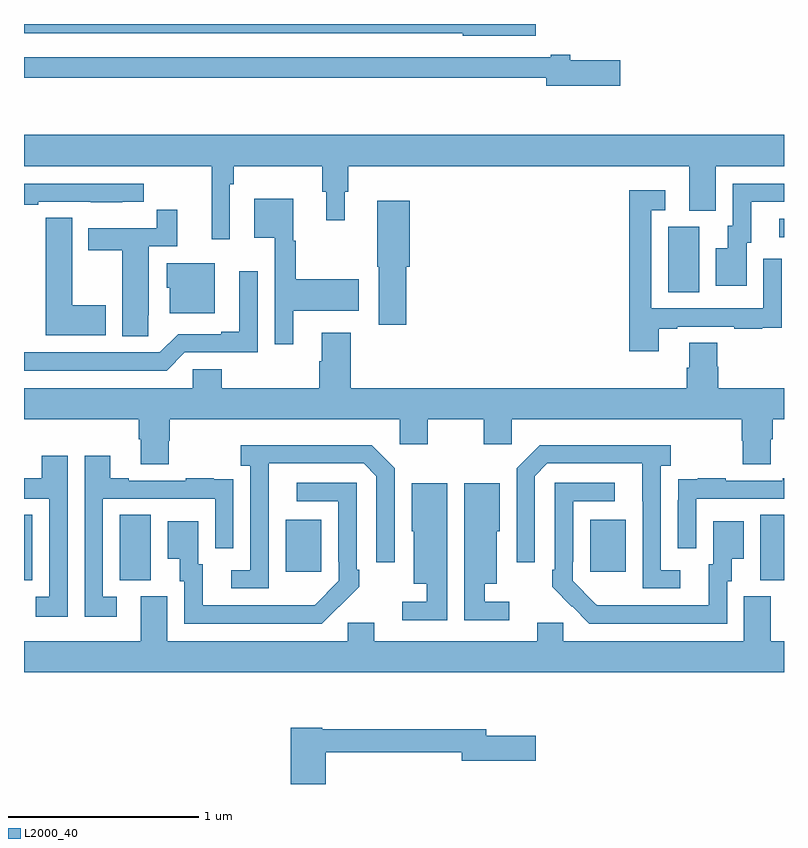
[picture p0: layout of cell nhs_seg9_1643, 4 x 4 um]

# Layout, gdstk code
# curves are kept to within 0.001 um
import gdstk
lib = gdstk.Library(unit=1e-6, precision=1e-09)
def R(c, l, rs):  # rectangles x0, y0, x1, y1
    for r in rs: c.add(gdstk.rectangle(r[:2], r[2:], *l))
def P(c, l, *ps):  # polygons
    for p in ps: c.add(gdstk.Polygon(p, *l))
L2000_40 = (2000, 40)

nhs_seg9_1643 = lib.new_cell('nhs_seg9_1643')
R(nhs_seg9_1643, L2000_40, [(203,1195.573,203.044,1195.916), (203.504,1195.573,203.668,1195.916), (206.876,1195.573,207,1195.916), (204.377,1195.617,204.565,1195.891), (205.979,1195.617,206.167,1195.891), (206.39,1197.088,206.554,1197.432), (206.976,1197.378,207,1197.474)])
P(nhs_seg9_1643, L2000_40, [(205.693,1198.5),(203,1198.5),(203,1198.452),(205.308,1198.452),(205.308,1198.439),(205.693,1198.439)],
  [(206.137,1198.31),(205.876,1198.31),(205.876,1198.339),(205.772,1198.339),(205.772,1198.326),(203,1198.326),(203,1198.218),(205.748,1198.218),(205.748,1198.175),(206.137,1198.175)],
  [(203,1197.752),(203.987,1197.752),(203.987,1197.366),(204.084,1197.366),(204.084,1197.656),(204.104,1197.656),(204.104,1197.752),(204.571,1197.752),(204.571,1197.618),(204.59,1197.618),(204.59,1197.468),(204.688,1197.468),(204.688,1197.618),(204.707,1197.618),(204.707,1197.752),(206.501,1197.752),(206.501,1197.517),(206.641,1197.517),(206.641,1197.752),(207,1197.752),(207,1197.916),(203,1197.916)],
  [(203.074,1197.564),(203.35,1197.564),(203.35,1197.563),(203.516,1197.563),(203.516,1197.564),(203.629,1197.564),(203.629,1197.66),(203,1197.66),(203,1197.549),(203.074,1197.549)],
  [(206.803,1197.348),(206.827,1197.348),(206.827,1197.564),(207,1197.564),(207,1197.66),(206.73,1197.66),(206.73,1197.438),(206.705,1197.438),(206.705,1197.319),(206.642,1197.319),(206.642,1197.123),(206.803,1197.123)],
  [(206.341,1196.895),(206.437,1196.895),(206.437,1196.907),(206.737,1196.907),(206.737,1196.895),(206.885,1196.895),(206.885,1196.901),(206.987,1196.901),(206.987,1197.01),(206.988,1197.01),(206.988,1197.265),(206.892,1197.265),(206.892,1197.003),(206.301,1197.003),(206.301,1197.519),(206.374,1197.519),(206.374,1197.625),(206.185,1197.625),(206.185,1196.778),(206.341,1196.778)],
  [(204.418,1196.99),(204.763,1196.99),(204.763,1197.156),(204.43,1197.156),(204.43,1197.36),(204.418,1197.36),(204.418,1197.58),(204.212,1197.58),(204.212,1197.374),(204.321,1197.374),(204.321,1196.814),(204.418,1196.814)],
  [(205.013,1197.222),(205.031,1197.222),(205.031,1197.571),(204.86,1197.571),(204.86,1197.222),(204.866,1197.222),(204.866,1196.916),(205.013,1196.916)],
  [(203.655,1196.968),(203.656,1196.968),(203.656,1197.33),(203.807,1197.33),(203.807,1197.523),(203.698,1197.523),(203.698,1197.426),(203.339,1197.426),(203.339,1197.31),(203.516,1197.31),(203.516,1196.857),(203.655,1196.857)],
  [(203.431,1197.021),(203.254,1197.021),(203.254,1197.479),(203.115,1197.479),(203.115,1197.371),(203.114,1197.371),(203.114,1196.861),(203.431,1196.861)],
  [(204.004,1197.241),(203.75,1197.241),(203.75,1197.111),(203.768,1197.111),(203.768,1196.978),(204.004,1196.978)],
  [(203.847,1196.772),(204.231,1196.772),(204.231,1197.199),(204.134,1197.199),(204.134,1196.881),(204.038,1196.881),(204.038,1196.868),(203.811,1196.868),(203.715,1196.772),(203,1196.772),(203,1196.676),(203.751,1196.676)],
  [(203.763,1196.307),(203.768,1196.307),(203.768,1196.42),(204.978,1196.42),(204.978,1196.289),(205.125,1196.289),(205.125,1196.42),(205.42,1196.42),(205.42,1196.289),(205.566,1196.289),(205.566,1196.42),(206.777,1196.42),(206.777,1196.307),(206.782,1196.307),(206.782,1196.182),(206.929,1196.182),(206.929,1196.314),(206.942,1196.314),(206.942,1196.42),(207,1196.42),(207,1196.584),(206.654,1196.584),(206.654,1196.697),(206.649,1196.697),(206.649,1196.822),(206.501,1196.822),(206.501,1196.69),(206.489,1196.69),(206.489,1196.584),(204.719,1196.584),(204.719,1196.875),(204.566,1196.875),(204.566,1196.726),(204.554,1196.726),(204.554,1196.584),(204.041,1196.584),(204.041,1196.682),(203.889,1196.682),(203.889,1196.584),(203,1196.584),(203,1196.42),(203.603,1196.42),(203.603,1196.314),(203.615,1196.314),(203.615,1196.182),(203.763,1196.182)],
  [(204.288,1195.987),(204.289,1196.187),(204.789,1196.187),(204.855,1196.121),(204.855,1195.668),(204.951,1195.668),(204.951,1196.163),(204.83,1196.284),(204.141,1196.284),(204.141,1196.174),(204.192,1196.174),(204.192,1195.626),(204.09,1195.626),(204.09,1195.53),(204.288,1195.53)],
  [(206.455,1195.626),(206.352,1195.626),(206.352,1196.174),(206.404,1196.174),(206.404,1196.284),(205.714,1196.284),(205.593,1196.163),(205.593,1195.668),(205.689,1195.668),(205.689,1196.121),(205.755,1196.187),(206.255,1196.187),(206.256,1195.53),(206.455,1195.53)],
  [(203.229,1196.227),(203.093,1196.227),(203.093,1196.11),(203,1196.11),(203,1196.001),(203.133,1196.001),(203.133,1195.485),(203.061,1195.485),(203.061,1195.38),(203.229,1195.38)],
  [(203.488,1195.485),(203.415,1195.485),(203.415,1196.001),(204.006,1196.001),(204.006,1195.74),(204.102,1195.74),(204.102,1195.994),(204.101,1195.994),(204.101,1196.103),(203.999,1196.103),(203.999,1196.11),(203.851,1196.11),(203.851,1196.097),(203.551,1196.097),(203.551,1196.11),(203.455,1196.11),(203.455,1196.227),(203.319,1196.227),(203.319,1195.38),(203.488,1195.38)],
  [(206.538,1196.001),(207,1196.001),(207,1196.11),(206.993,1196.11),(206.993,1196.097),(206.693,1196.097),(206.693,1196.11),(206.545,1196.11),(206.545,1196.103),(206.443,1196.103),(206.443,1195.994),(206.442,1195.994),(206.442,1195.74),(206.538,1195.74)],
  [(204.659,1195.435),(204.66,1195.434),(204.765,1195.539),(204.765,1195.627),(204.75,1195.627),(204.75,1196.085),(204.435,1196.085),(204.435,1195.989),(204.654,1195.989),(204.654,1195.669),(204.657,1195.669),(204.657,1195.569),(204.529,1195.441),(203.941,1195.44),(203.941,1195.656),(203.917,1195.656),(203.917,1195.882),(203.756,1195.882),(203.756,1195.685),(203.819,1195.685),(203.819,1195.566),(203.844,1195.566),(203.844,1195.344),(204.568,1195.344)],
  [(206.7,1195.566),(206.725,1195.566),(206.725,1195.685),(206.788,1195.685),(206.788,1195.882),(206.627,1195.882),(206.627,1195.656),(206.603,1195.656),(206.603,1195.44),(206.016,1195.441),(205.887,1195.569),(205.887,1195.669),(205.89,1195.669),(205.89,1195.989),(206.11,1195.989),(206.11,1196.085),(205.794,1196.085),(205.794,1195.627),(205.779,1195.627),(205.779,1195.539),(205.976,1195.344),(206.7,1195.344)],
  [(205.555,1195.458),(205.426,1195.458),(205.426,1195.553),(205.489,1195.553),(205.489,1195.83),(205.504,1195.83),(205.504,1196.083),(205.316,1196.083),(205.316,1195.657),(205.317,1195.657),(205.317,1195.362),(205.555,1195.362)],
  [(205.227,1195.657),(205.228,1195.657),(205.228,1196.083),(205.04,1196.083),(205.04,1195.83),(205.052,1195.83),(205.052,1195.553),(205.119,1195.553),(205.119,1195.458),(204.99,1195.458),(204.99,1195.362),(205.227,1195.362)],
  [(207,1195.252),(206.929,1195.252),(206.929,1195.488),(206.789,1195.488),(206.789,1195.252),(205.839,1195.252),(205.839,1195.35),(205.7,1195.35),(205.7,1195.252),(204.844,1195.252),(204.844,1195.35),(204.705,1195.35),(204.705,1195.252),(203.755,1195.252),(203.755,1195.488),(203.615,1195.488),(203.615,1195.252),(203,1195.252),(203,1195.088),(207,1195.088)],
  [(204.587,1194.666),(205.304,1194.666),(205.304,1194.623),(205.693,1194.623),(205.693,1194.753),(205.432,1194.753),(205.432,1194.787),(204.57,1194.787),(204.57,1194.795),(204.404,1194.795),(204.404,1194.5),(204.587,1194.5)])

lib.write_gds('nhs_seg9_1643.gds')
